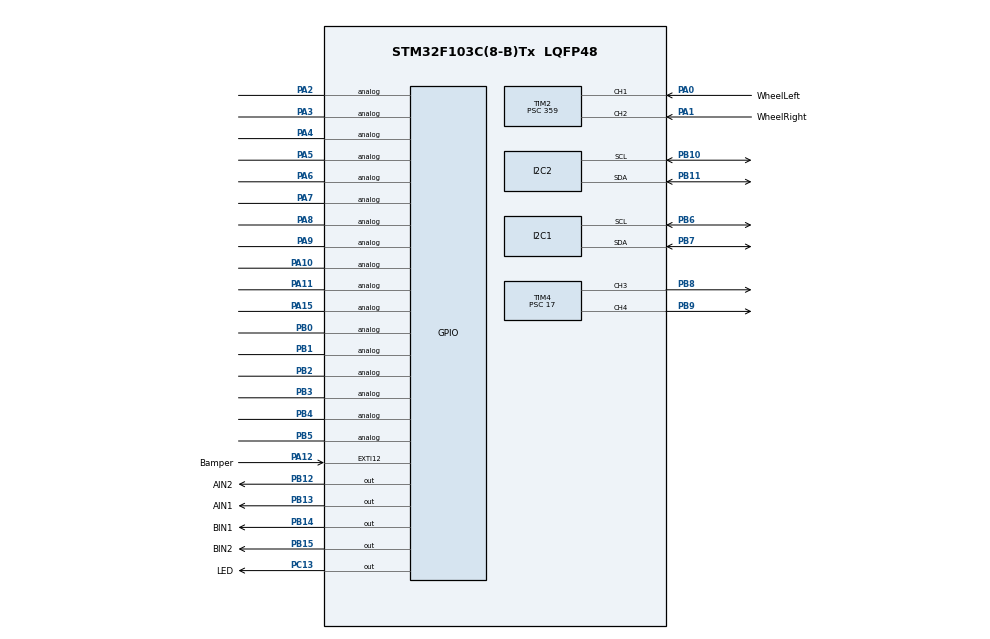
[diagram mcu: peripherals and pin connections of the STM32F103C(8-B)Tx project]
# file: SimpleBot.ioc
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I2C1.I2C_Mode=I2C_Fast
I2C2.I2C_Mode=I2C_Fast
Mcu.Family=STM32F1
Mcu.Name=STM32F103C(8-B)Tx
Mcu.Package=LQFP48
NVIC.EXTI15_10_IRQn=true\:3\:0\:true\:false\:true\:true\:true\:true
NVIC.I2C1_ER_IRQn=true\:1\:0\:true\:false\:true\:true\:true\:true
NVIC.I2C1_EV_IRQn=true\:0\:0\:false\:false\:true\:true\:true\:true
NVIC.I2C2_ER_IRQn=true\:1\:0\:true\:false\:true\:true\:true\:true
NVIC.I2C2_EV_IRQn=true\:0\:0\:false\:false\:true\:true\:true\:true
NVIC.PriorityGroup=NVIC_PRIORITYGROUP_4
NVIC.TIM2_IRQn=true\:2\:0\:true\:false\:true\:true\:true\:true
PA0-WKUP.GPIO_Label=WheelLeft
PA0-WKUP.GPIO_PuPd=GPIO_PULLUP
PA0-WKUP.Signal=S_TIM2_CH1_ETR
PA1.GPIO_Label=WheelRight
PA1.GPIO_PuPd=GPIO_PULLUP
PA1.Signal=S_TIM2_CH2
PA10.Signal=GPIO_Analog
PA11.Signal=GPIO_Analog
PA12.GPIO_Label=Bamper
PA12.GPIO_ModeDefaultEXTI=GPIO_MODE_IT_RISING
PA12.GPIO_PuPd=GPIO_PULLUP
PA12.Signal=GPXTI12
PA13.Mode=Serial_Wire
PA13.Signal=SYS_JTMS-SWDIO
PA14.Mode=Serial_Wire
PA14.Signal=SYS_JTCK-SWCLK
PA15.Signal=GPIO_Analog
PA2.Signal=GPIO_Analog
PA3.Signal=GPIO_Analog
PA4.Signal=GPIO_Analog
PA5.Signal=GPIO_Analog
PA6.Signal=GPIO_Analog
PA7.Signal=GPIO_Analog
PA8.Signal=GPIO_Analog
PA9.Signal=GPIO_Analog
PB0.Signal=GPIO_Analog
PB1.Signal=GPIO_Analog
PB10.Mode=I2C
PB10.Signal=I2C2_SCL
PB11.Mode=I2C
PB11.Signal=I2C2_SDA
PB12.GPIO_Label=AIN2
PB12.GPIO_PuPd=GPIO_PULLDOWN
PB12.Signal=GPIO_Output
PB13.GPIO_Label=AIN1
PB13.GPIO_PuPd=GPIO_PULLDOWN
PB13.Signal=GPIO_Output
PB14.GPIO_Label=BIN1
PB14.GPIO_PuPd=GPIO_PULLDOWN
PB14.Signal=GPIO_Output
PB15.GPIO_Label=BIN2
PB15.GPIO_PuPd=GPIO_PULLDOWN
PB15.Signal=GPIO_Output
PB2.Signal=GPIO_Analog
PB3.Signal=GPIO_Analog
PB4.Signal=GPIO_Analog
PB5.Signal=GPIO_Analog
PB6.Mode=I2C
PB6.Signal=I2C1_SCL
PB7.Mode=I2C
PB7.Signal=I2C1_SDA
PB8.Signal=S_TIM4_CH3
PB9.Signal=S_TIM4_CH4
PC13-TAMPER-RTC.GPIO_Label=LED
PC13-TAMPER-RTC.GPIO_ModeDefaultOutputPP=GPIO_MODE_OUTPUT_OD
PC13-TAMPER-RTC.GPIO_PuPd=GPIO_NOPULL
PC13-TAMPER-RTC.Signal=GPIO_Output
PC14-OSC32_IN.Mode=LSE-External-Oscillator
PC14-OSC32_IN.Signal=RCC_OSC32_IN
PC15-OSC32_OUT.Mode=LSE-External-Oscillator
PC15-OSC32_OUT.Signal=RCC_OSC32_OUT
PD0-OSC_IN.Mode=HSE-External-Oscillator
PD0-OSC_IN.Signal=RCC_OSC_IN
PD1-OSC_OUT.Mode=HSE-External-Oscillator
PD1-OSC_OUT.Signal=RCC_OSC_OUT
ProjectManager.HeapSize=0x200
ProjectManager.StackSize=0x400
ProjectManager.TargetToolchain=STM32CubeIDE
RCC.ADCPresc=RCC_ADCPCLK2_DIV6
RCC.AHBFreq_Value=72000000
RCC.APB1CLKDivider=RCC_HCLK_DIV2
RCC.APB1Freq_Value=36000000
RCC.APB1TimFreq_Value=72000000
RCC.APB2Freq_Value=72000000
RCC.APB2TimFreq_Value=72000000
RCC.EnbaleCSS=true
RCC.HCLKFreq_Value=72000000
RCC.HSE_Timout=250
RCC.LSE_Timout=5000
RCC.PLLMUL=RCC_PLL_MUL9
RCC.PLLSourceVirtual=RCC_PLLSOURCE_HSE
RCC.RTCClockSelection=RCC_RTCCLKSOURCE_LSE
RCC.SYSCLKFreq_VALUE=72000000
RCC.SYSCLKSource=RCC_SYSCLKSOURCE_PLLCLK
RCC.USBFreq_Value=72000000
SH.S_TIM2_CH1_ETR.0=TIM2_CH1,Input_Capture1_from_TI1
SH.S_TIM2_CH2.0=TIM2_CH2,Input_Capture2_from_TI2
SH.S_TIM4_CH3.0=TIM4_CH3,PWM Generation3 CH3
SH.S_TIM4_CH4.0=TIM4_CH4,PWM Generation4 CH4
TIM2.AutoReloadPreload=TIM_AUTORELOAD_PRELOAD_ENABLE
TIM2.Channel-Input_Capture1_from_TI1=TIM_CHANNEL_1
TIM2.Channel-Input_Capture2_from_TI2=TIM_CHANNEL_2
TIM2.ICFilter_CH1=4
TIM2.ICFilter_CH2=4
TIM2.Prescaler=359
TIM2.TIM_MasterOutputTrigger=TIM_TRGO_RESET
TIM2.TIM_MasterSlaveMode=TIM_MASTERSLAVEMODE_DISABLE
TIM4.Channel-PWM\ Generation3\ CH3=TIM_CHANNEL_3
TIM4.Channel-PWM\ Generation4\ CH4=TIM_CHANNEL_4
TIM4.Period=1000
TIM4.Prescaler=17
VP_TIM2_VS_ClockSourceINT.Mode=Internal
VP_TIM4_VS_ClockSourceINT.Mode=Internal
board=custom

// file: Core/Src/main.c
/* USER CODE BEGIN Header */
/**
  ******************************************************************************
  * @file           : main.c
  * @brief          : Main program body
  ******************************************************************************
  * @attention
  *
  * Copyright (c) 2023 STMicroelectronics.
  * All rights reserved.
  *
  * This software is licensed under terms that can be found in the LICENSE file
  * in the root directory of this software component.
  * If no LICENSE file comes with this software, it is provided AS-IS.
  *
  ******************************************************************************
  */
/* USER CODE END Header */
#include "main.h"
#include "i2c.h"
#include "tim.h"
#include "gpio.h"

/* USER CODE BEGIN Includes */
//#include "I2C/MyI2C.h"
#include "Function/Function.h"
#include "Move.h"
#include "PID/MyPid.h"
#include "VL53L0x/VL53L0x.h"
#include "MCP23017/MCP23_17.h"
/* USER CODE END Includes */

/* USER CODE BEGIN PV */
//TIME
volatile uint32_t mainTick = 0;
volatile uint32_t pool = 100;
uint32_t cycleTime;
uint32_t previousTime = 0;
uint32_t dt = 0;

volatile uint32_t PeripheralRequest = 0;

//EMERGENCY
volatile uint8_t stopEmrgFront = 0;  //emergency stop flag from switch
uint16_t wall = 0;

//I2C
uint8_t i2c1_buffer[32] = {0};  //data buffer for i2c bus
fifo_t ringI2C1 = { i2c1_buffer, 32, 0, 0, 0 };  //structure for circular i2c buffer
I2C_Connection_t I2C1_Bus = { I2C1, PORT_FREE, 0, 0, I2C_MODE_WRITE, 0, &ringI2C1 };

uint8_t i2c2_buffer[32] = {0};  //data buffer for i2c bus
fifo_t ringI2C2 = { i2c2_buffer, 32, 0, 0, 0 };  //structure for circular i2c buffer
I2C_Connection_t I2C2_Bus = { I2C2, PORT_FREE, 0, 0, I2C_MODE_WRITE, 0, &ringI2C2 };

//OBJECTS
VL53L0X LidarLeft;	//left laser sensor
VL53L0X LidarRight;	//right laser sensor

robot_t bot = {//robot main object
             	{0.0, 0.0},			//координаты робота
             	0.0,						//main speed
             	0.0,						//расстояние до цели
             	0.0,					//путь пройденный центром робота
             	0.0,		//интеграл пути
             	0.0,  		//пеленг (theta) и�?комый
             	0.0,  			//psi кур�? робота, угол в �?и�?теме координат
             	0.0,  			//курcовой угол
             	0.0,		//угловая скорость
              {0, 0, 0, 0.0, 0.0},		//wheel left
              {0, 0, 0, 0.0, 0.0},		//wheel right
              {TIM4, LL_TIM_CHANNEL_CH1, LL_TIM_CHANNEL_CH2, STOP },	//drive
              {	{0.0, 0.0},//координаты робота}
								0,
								0
								}
		};

point_t target = {1.0, 1.0};

//PID
pidData_t pidLeft;
pidData_t pidRight;

//distance
uint16_t lms_int;
uint16_t rms_int;
uint16_t distL_mm;  //ра�?�?то�?ние �?лева по�?ле фильтрации, мм
uint16_t distR_mm;  //ра�?�?то�?ние �?права по�?ле фильтрации, мм
/* USER CODE END PV */

void SystemClock_Config(void);

int main(void)
{
  /* USER CODE BEGIN 1 */
	uint8_t laserStep = 0;
  /* USER CODE END 1 */

  /* MCU Configuration--------------------------------------------------------*/

  /* Reset of all peripherals, Initializes the Flash interface and the Systick. */
  LL_APB2_GRP1_EnableClock(LL_APB2_GRP1_PERIPH_AFIO);
  LL_APB1_GRP1_EnableClock(LL_APB1_GRP1_PERIPH_PWR);

  /* System interrupt init*/
  NVIC_SetPriorityGrouping(NVIC_PRIORITYGROUP_4);

  /** NOJTAG: JTAG-DP Disabled and SW-DP Enabled
  */
  LL_GPIO_AF_Remap_SWJ_NOJTAG();

  /* Configure the system clock */
  SystemClock_Config();

  /* Initialize all configured peripherals */
  MX_GPIO_Init();
  MX_TIM2_Init();
  MX_TIM4_Init();
  MX_I2C1_Init();
  MX_I2C2_Init();
  //MY_I2C1_Init();
  //MY_I2C2_Init();
  /* USER CODE BEGIN 2 */
	SysTick_Config(SystemCoreClock / 1000);  //1ms tick
	LL_GPIO_ResetOutputPin(LED_GPIO_Port, LED_Pin);
	setupVL53L0X(&LidarLeft, 20);
	setupVL53L0X(&LidarRight, 20);
	previousTime = mainTick;

	pid_Init(14, 6, 2, &pidLeft);
	pid_Init(14, 6, 2, &pidRight);
	//DWT_Init();
	uint8_t stl = 0;
	uint8_t str = 0;
  /* USER CODE END 2 */

  /* Infinite loop */
  /* USER CODE BEGIN WHILE */
  while (1)
  {
  	//DWT_Meas(&cycleTime);
  	if (PeripheralRequest & LIDAR_REQUEST_MASK) {
			switch (laserStep) {
			case 0:
				while (str == 0) {
					str = VL_Init(&I2C1_Bus, &LidarRight);
					rms_int = distCalc(&LidarRight, LIMIT);
				}
				while (stl == 0) {
					stl = VL_Init(&I2C2_Bus, &LidarLeft);
					lms_int = distCalc(&LidarLeft, LIMIT);
				}
				if ((stl == 1) && (str == 1)) {
					requestOff(PeripheralRequest, LIDAR_REQUEST_MASK);
					laserStep = 1;
				}
				break;
			case 1:
				while (stl == 0) {
					stl = readRangeSingleMillimeters(&I2C2_Bus, &LidarLeft);
				}
				while (str == 0) {
					str = readRangeSingleMillimeters(&I2C1_Bus, &LidarRight);
				}
				if ((stl == 1) && (str == 1)) {
					requestOff(PeripheralRequest, LIDAR_REQUEST_MASK);
					LL_GPIO_TogglePin(LED_GPIO_Port, LED_Pin);
					str = 0; stl = 0;
				}
				break;
			default:
				laserStep = 0;
				break;
			}
		}

		if (PeripheralRequest & PACH_CALC_MASK) {
			dt = mainTick - previousTime;
			previousTime = mainTick;
			distL_mm = alphabeta(distL_mm, lms_int, 16);
			distR_mm = alphabeta(distR_mm, rms_int, 16);
			uint8_t mvst= MoveDrive(&bot, dt, target, distL_mm, distR_mm, wall);
			if (mvst) {
				target.x = 1.0f * rand() / RAND_MAX + 0.5;
				target.y = 1.0f * rand() / RAND_MAX + 0.5;
			}
			requestOff(PeripheralRequest, PACH_CALC_MASK);
		}

    /* USER CODE END WHILE */

  }
}

void SystemClock_Config(void)
{
  LL_FLASH_SetLatency(LL_FLASH_LATENCY_2);
  while(LL_FLASH_GetLatency()!= LL_FLASH_LATENCY_2)
  {
  }
  LL_RCC_HSE_Enable();

   /* Wait till HSE is ready */
  while(LL_RCC_HSE_IsReady() != 1)
  {

  }
  LL_RCC_HSE_EnableCSS();
  LL_RCC_PLL_ConfigDomain_SYS(LL_RCC_PLLSOURCE_HSE_DIV_1, LL_RCC_PLL_MUL_9);
  LL_RCC_PLL_Enable();

   /* Wait till PLL is ready */
  while(LL_RCC_PLL_IsReady() != 1)
  {

  }
  LL_RCC_SetAHBPrescaler(LL_RCC_SYSCLK_DIV_1);
  LL_RCC_SetAPB1Prescaler(LL_RCC_APB1_DIV_2);
  LL_RCC_SetAPB2Prescaler(LL_RCC_APB2_DIV_1);
  LL_RCC_SetSysClkSource(LL_RCC_SYS_CLKSOURCE_PLL);

   /* Wait till System clock is ready */
  while(LL_RCC_GetSysClkSource() != LL_RCC_SYS_CLKSOURCE_STATUS_PLL)
  {

  }
  LL_Init1msTick(72000000);
  LL_SetSystemCoreClock(72000000);
}

void Error_Handler(void)
{
  __disable_irq();
  while (1)
  {
  }
}
